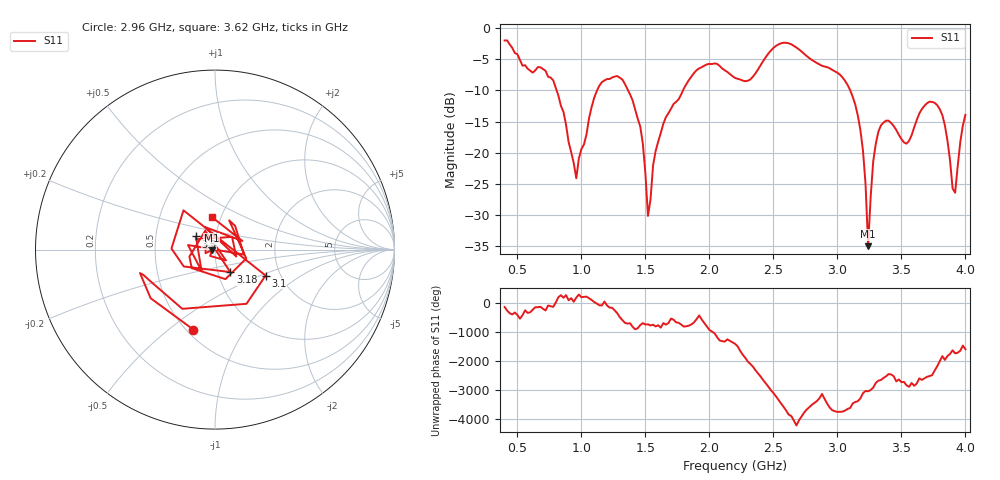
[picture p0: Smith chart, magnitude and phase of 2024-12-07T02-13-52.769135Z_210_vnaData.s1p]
!Created with skrf (http://scikit-rf.org).
# Hz S RI R 50.0
!freq ReS11 ImS11
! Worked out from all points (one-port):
!   181 points, 400 MHz to 4 GHz, reference 50 ohm
!   lowest |S11| = -34.9 dB at 3.24 GHz (marker M1), VSWR 1.04, Z = 48.3 - j0.272 ohm
!   |S11| at or under -10 dB: 806.2 MHz to 1.123 GHz (316.5 MHz wide, 32.8 % of centre); 1.365 GHz to 1.794 GHz (428.6 MHz wide, 27.1 % of centre); 3.1 GHz to end of sweep
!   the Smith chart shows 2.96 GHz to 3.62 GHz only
!   S11 on the Smith chart (normalised r, x): 2.96 GHz: 0.54, -0.61; 3.1 GHz: 1.68, -0.54; 3.18 GHz: 1.15, -0.29; 3.5 GHz: 0.80, +0.12; 3.62 GHz: 0.90, +0.34
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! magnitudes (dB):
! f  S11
! 400 MHz  -2.0
! 720 MHz  -6.9
! 860 MHz  -13.4
! 960 MHz  -24.1
! 1.12 GHz  -10.1
! 1.3 GHz  -8.0
! 1.46 GHz  -15.8
! 1.48 GHz  -18.5
! 1.52 GHz  -30.1
! 1.58 GHz  -19.7
! 1.76 GHz  -11.4
! 1.98 GHz  -5.8
! 2.2 GHz  -8.0
! 2.66 GHz  -2.9
! 2.96 GHz  -6.7
! 3.1 GHz  -10.0
! 3.18 GHz  -16.4
! 3.22 GHz  -25.0
! 3.24 GHz  -34.9
! 3.28 GHz  -21.3
! 3.32 GHz  -16.6
! 3.4 GHz  -14.8
! 3.5 GHz  -17.8
! 3.56 GHz  -18.1
! 3.62 GHz  -14.7
! 3.8 GHz  -13.0
! 3.92 GHz  -26.4
! 4 GHz  -13.9
